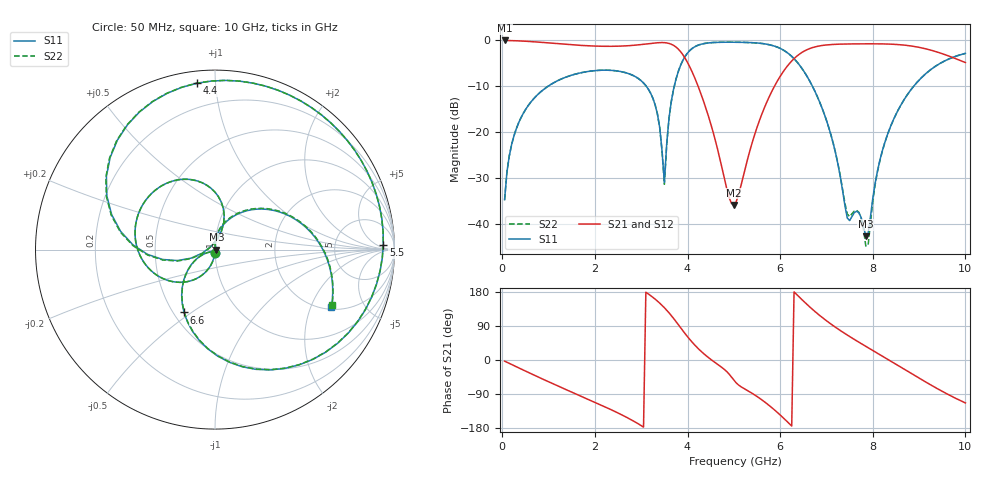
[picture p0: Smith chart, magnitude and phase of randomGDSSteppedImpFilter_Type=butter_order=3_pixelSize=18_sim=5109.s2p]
! freq	dB(S11)	phase(S11)	dB(S12)	phase(S12)
!  dB(S21)	phase(S21)	dB(S22)	phase(S22)
!S-par simulation data
#  GHz  S  DB  R 50
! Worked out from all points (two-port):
!   200 points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, 50 MHz to 10 GHz, reference 50 ohm
!   highest |S21| = 0.00 dB at 50 MHz (marker M1); lowest = -35.9 dB at 5 GHz (marker M2)
!   |S21| within 3 dB of the highest: start of sweep to 3.891 GHz; 6.415 GHz to 9.533 GHz (3.118 GHz wide, 39.1 % of centre)
!   lowest |S11| = -42.7 dB at 7.85 GHz (marker M3), VSWR 1.01, Z = 50.7 - j0.0133 ohm
!   |S11| at or under -10 dB: start of sweep to 986.5 MHz; 3.11 GHz to 3.713 GHz (603.5 MHz wide, 17.7 % of centre); 6.698 GHz to 8.882 GHz (2.185 GHz wide, 28 % of centre)
!   |S22| runs from -44.9 to -0.4 dB; largest |S21 - S12| = 0
!   S11 on the Smith chart (normalised r, x): 50 MHz: 1.00, -0.04; 4.4 GHz: 0.06, +0.90; 5.5 GHz: 27, +11; 6.6 GHz: 0.57, -0.47; 10 GHz: 2.14, -2.83
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0.05  -34.73 -92.9  -0.00 -3.0  -0.00 -3.0  -34.73 -92.9
0.2  -22.77 -102.2  -0.04 -11.8  -0.04 -11.8  -22.77 -102.2
0.5  -15.10 -119.8  -0.17 -29.2  -0.17 -29.2  -15.10 -119.7
1.75  -6.94 171.2  -1.11 -98.1  -1.11 -98.1  -6.94 171.3
2.95  -8.40 101.0  -0.95 -169.4  -0.95 -169.4  -8.40 101.2
3.4  -19.03 70.9  -0.48 150.0  -0.48 150.0  -19.05 70.5
3.5  -30.93 140.9  -0.49 138.0  -0.49 138.0  -31.36 141.4
3.6  -16.96 -160.4  -0.66 124.5  -0.66 124.5  -16.98 -159.4
3.75  -8.46 -176.0  -1.43 101.6  -1.43 101.6  -8.47 -175.4
4.05  -2.18 138.7  -5.80 54.0  -5.80 54.0  -2.19 139.1
4.4  -0.61 96.1  -14.89 11.5  -14.89 11.5  -0.61 96.5
5  -0.39 43.4  -35.88 -53.1  -35.88 -53.1  -0.39 43.8
5.05  -0.39 39.3  -35.19 -60.2  -35.19 -60.2  -0.39 39.7
5.5  -0.56 1.5  -18.98 -96.2  -18.98 -96.2  -0.56 1.9
6.1  -2.30 -59.6  -6.33 -156.5  -6.33 -156.5  -2.30 -59.3
6.6  -8.17 -116.2  -1.93 144.4  -1.93 144.4  -8.17 -115.9
6.7  -10.05 -126.2  -1.56 133.4  -1.56 133.4  -10.04 -125.9
7.45  -38.73 -112.9  -0.77 65.8  -0.77 65.8  -37.85 -113.1
7.85  -42.71 -1.0  -0.74 36.0  -0.74 36.0  -44.86 -12.5
8.35  -19.63 78.1  -0.79 -0.1  -0.79 -0.1  -19.68 80.1
9.15  -7.19 27.1  -1.84 -58.5  -1.84 -58.5  -7.20 27.9
10  -2.83 -26.0  -4.82 -113.3  -4.82 -113.3  -2.83 -25.5
